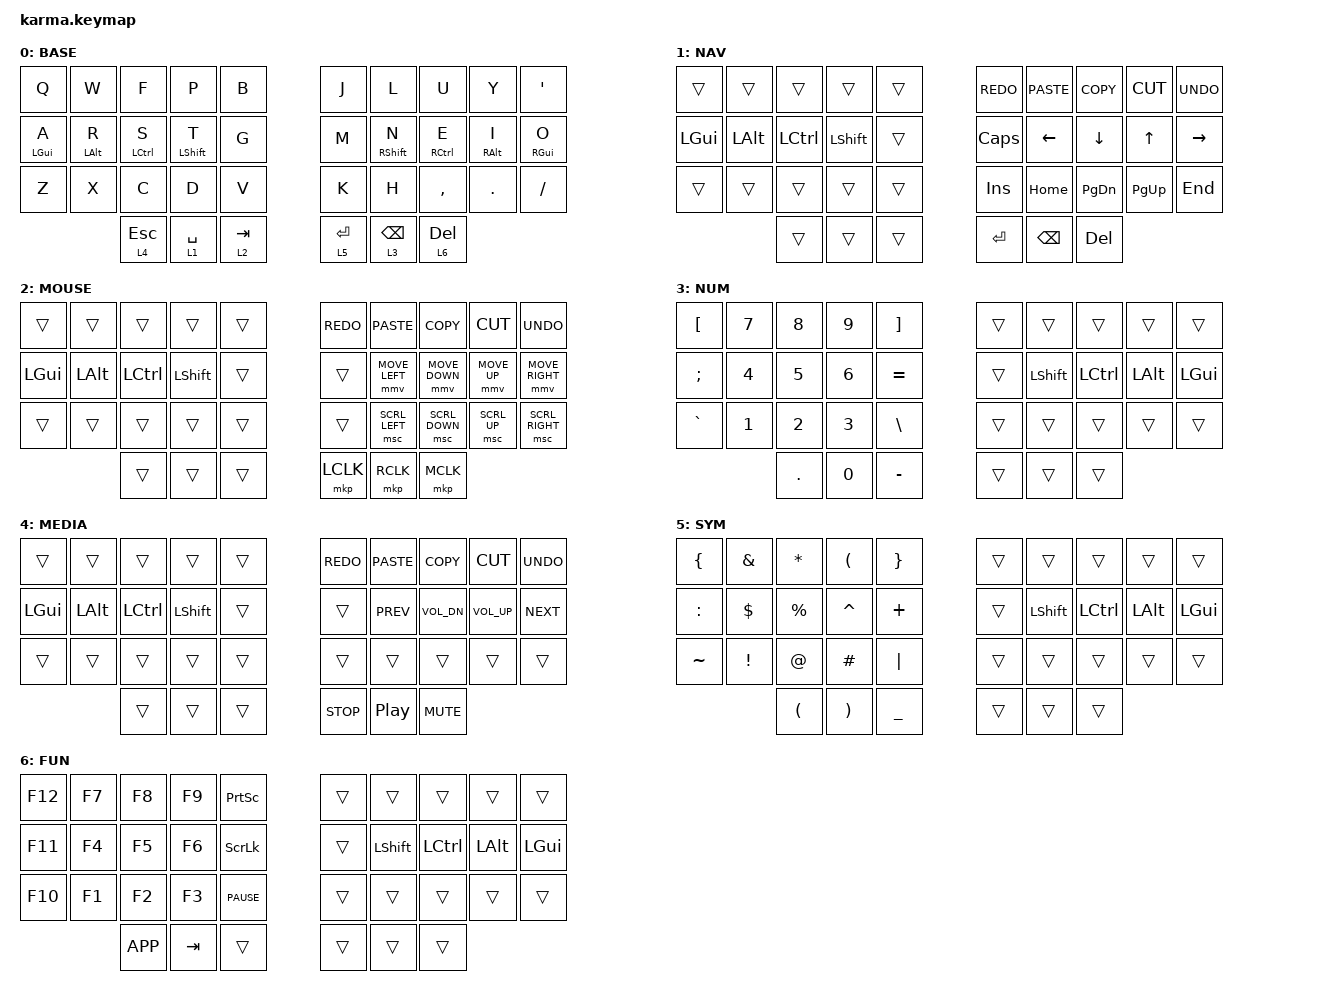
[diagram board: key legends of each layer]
#include <behaviors.dtsi>
#include <dt-bindings/zmk/keys.h>
#include <dt-bindings/zmk/bt.h>
#include <dt-bindings/zmk/outputs.h>
#include <dt-bindings/zmk/ext_power.h>
#include <dt-bindings/zmk/pointing.h>

/ {
  behaviors {
    u_mt: u_mt {
      compatible = "zmk,behavior-hold-tap";
      #binding-cells = <2>;
      tapping-term-ms = <200>;
      flavor = "tap-preferred";
      bindings = <&kp>, <&kp>;
    };

    u_lt: u_lt {
      compatible = "zmk,behavior-hold-tap";
      #binding-cells = <2>;
      tapping-term-ms = <200>;
      flavor = "tap-preferred";
      bindings = <&mo>, <&kp>;
    };
  };

  keymap {
    compatible = "zmk,keymap";

    miryoku_base_layer {
      label = "BASE";
      // ┏━━━━━━━━━━━┳━━━━━━━━━━━┳━━━━━━━━━━━┳━━━━━━━━━━━┳━━━━━━━━━━━┓   ┏━━━━━━━━━━━┳━━━━━━━━━━━┳━━━━━━━━━━━┳━━━━━━━━━━━┳━━━━━━━━━━━┓
      // ┃     Q     ┃     W     ┃     F     ┃     P     ┃     B     ┃   ┃     J     ┃     L     ┃     U     ┃     Y     ┃     '     ┃
      // ┣━━━━━━━━━━━╋━━━━━━━━━━━╋━━━━━━━━━━━╋━━━━━━━━━━━╋━━━━━━━━━━━┫   ┣━━━━━━━━━━━╋━━━━━━━━━━━╋━━━━━━━━━━━╋━━━━━━━━━━━╋━━━━━━━━━━━┫
      // ┃   LGUI A  ┃   LALT R  ┃   LCTL S  ┃   LSHF T  ┃     G     ┃   ┃     M     ┃   RSHF N  ┃   RCTL E  ┃   RALT I  ┃   RGUI O  ┃
      // ┣━━━━━━━━━━━╋━━━━━━━━━━━╋━━━━━━━━━━━╋━━━━━━━━━━━╋━━━━━━━━━━━┫   ┣━━━━━━━━━━━╋━━━━━━━━━━━╋━━━━━━━━━━━╋━━━━━━━━━━━╋━━━━━━━━━━━┫
      // ┃     Z     ┃     X     ┃     C     ┃     D     ┃     V     ┃   ┃     K     ┃     H     ┃     ,     ┃     .     ┃     /     ┃
      // ┗━━━━━━━━━━━┻━━━━━━━━━━━╋━━━━━━━━━━━╋━━━━━━━━━━━╋━━━━━━━━━━━┫   ┣━━━━━━━━━━━╋━━━━━━━━━━━╋━━━━━━━━━━━╋━━━━━━━━━━━┻━━━━━━━━━━━┛
      //                         ┃   MEDIA   ┃    NAV    ┃   MOUSE   ┃   ┃    SYM    ┃    NUM    ┃    FUN    ┃
      //                         ┃    ESC    ┃    SPC    ┃    TAB    ┃   ┃    ENT    ┃    BSP    ┃    DEL    ┃
      //                         ┗━━━━━━━━━━━┻━━━━━━━━━━━┻━━━━━━━━━━━┛   ┗━━━━━━━━━━━┻━━━━━━━━━━━┻━━━━━━━━━━━┛
      bindings = <
        &kp Q           &kp W           &kp F           &kp P           &kp B           &kp J           &kp L           &kp U           &kp Y           &kp SQT
        &u_mt LGUI A    &u_mt LALT R    &u_mt LCTRL S   &u_mt LSHFT T   &kp G           &kp M           &u_mt RSHFT N   &u_mt RCTRL E   &u_mt RALT I    &u_mt RGUI O
        &kp Z           &kp X           &kp C           &kp D           &kp V           &kp K           &kp H           &kp COMMA       &kp DOT         &kp SLASH
                                        &lt 4 ESC       &lt 1 SPACE     &lt 2 TAB       &lt 5 RET       &lt 3 BSPC      &lt 6 DEL
      >;
    };

    miryoku_nav_layer {
      label = "NAV";
      // ┏━━━━━━━━━━━┳━━━━━━━━━━━┳━━━━━━━━━━━┳━━━━━━━━━━━┳━━━━━━━━━━━┓   ┏━━━━━━━━━━━┳━━━━━━━━━━━┳━━━━━━━━━━━┳━━━━━━━━━━━┳━━━━━━━━━━━┓
      // ┃           ┃           ┃           ┃           ┃           ┃   ┃   Redo    ┃   Paste   ┃   Copy    ┃    Cut    ┃   Undo    ┃
      // ┣━━━━━━━━━━━╋━━━━━━━━━━━╋━━━━━━━━━━━╋━━━━━━━━━━━╋━━━━━━━━━━━┫   ┣━━━━━━━━━━━╋━━━━━━━━━━━╋━━━━━━━━━━━╋━━━━━━━━━━━╋━━━━━━━━━━━┫
      // ┃           ┃           ┃           ┃           ┃           ┃   ┃  CapsLock ┃  Left ←   ┃  Down ↓   ┃   Up ↑    ┃  Right →  ┃
      // ┣━━━━━━━━━━━╋━━━━━━━━━━━╋━━━━━━━━━━━╋━━━━━━━━━━━╋━━━━━━━━━━━┫   ┣━━━━━━━━━━━╋━━━━━━━━━━━╋━━━━━━━━━━━╋━━━━━━━━━━━╋━━━━━━━━━━━┫
      // ┃           ┃           ┃           ┃           ┃           ┃   ┃    Ins    ┃   Home    ┃   PgDn    ┃   PgUp    ┃    End    ┃
      // ┗━━━━━━━━━━━┻━━━━━━━━━━━╋━━━━━━━━━━━╋━━━━━━━━━━━╋━━━━━━━━━━━┫   ┣━━━━━━━━━━━╋━━━━━━━━━━━╋━━━━━━━━━━━╋━━━━━━━━━━━┻━━━━━━━━━━━┛
      //                         ┃           ┃           ┃           ┃   ┃    ENT    ┃    BSP    ┃    DEL    ┃
      //                         ┗━━━━━━━━━━━┻━━━━━━━━━━━┻━━━━━━━━━━━┛   ┗━━━━━━━━━━━┻━━━━━━━━━━━┻━━━━━━━━━━━┛
      bindings = <
        &trans          &trans          &trans          &trans          &trans          &kp K_REDO      &kp K_PASTE     &kp K_COPY      &kp K_CUT       &kp K_UNDO
        &kp LGUI        &kp LALT        &kp LCTRL       &kp LSHFT       &trans          &kp CAPS        &kp LEFT        &kp DOWN        &kp UP          &kp RIGHT
        &trans          &trans          &trans          &trans          &trans          &kp INS         &kp HOME        &kp PG_DN       &kp PG_UP       &kp END
                                        &trans          &trans          &trans          &kp RET         &kp BSPC        &kp DEL
      >;
    };

    miryoku_mouse_layer {
      label = "MOUSE";
      // ┏━━━━━━━━━━━┳━━━━━━━━━━━┳━━━━━━━━━━━┳━━━━━━━━━━━┳━━━━━━━━━━━┓   ┏━━━━━━━━━━━┳━━━━━━━━━━━┳━━━━━━━━━━━┳━━━━━━━━━━━┳━━━━━━━━━━━┓
      // ┃           ┃           ┃           ┃           ┃           ┃   ┃   Redo    ┃   Paste   ┃   Copy    ┃    Cut    ┃   Undo    ┃
      // ┣━━━━━━━━━━━╋━━━━━━━━━━━╋━━━━━━━━━━━╋━━━━━━━━━━━╋━━━━━━━━━━━┫   ┣━━━━━━━━━━━╋━━━━━━━━━━━╋━━━━━━━━━━━╋━━━━━━━━━━━╋━━━━━━━━━━━┫
      // ┃   LGUI    ┃   LALT    ┃   LCTRL   ┃   LSHFT   ┃           ┃   ┃           ┃  Move ←   ┃  Move ↓   ┃  Move ↑   ┃  Move →   ┃
      // ┣━━━━━━━━━━━╋━━━━━━━━━━━╋━━━━━━━━━━━╋━━━━━━━━━━━╋━━━━━━━━━━━┫   ┣━━━━━━━━━━━╋━━━━━━━━━━━╋━━━━━━━━━━━╋━━━━━━━━━━━╋━━━━━━━━━━━┃
      // ┃           ┃           ┃           ┃           ┃           ┃   ┃           ┃  Scroll ← ┃  Scroll ↓ ┃  Scroll ↑ ┃  Scroll → ┃
      // ┗━━━━━━━━━━━┻━━━━━━━━━━━╋━━━━━━━━━━━╋━━━━━━━━━━━╋━━━━━━━━━━━┫   ┣━━━━━━━━━━━╋━━━━━━━━━━━╋━━━━━━━━━━━╋━━━━━━━━━━━┻━━━━━━━━━━━┛
      //                         ┃           ┃           ┃           ┃   ┃   LCLK    ┃   RCLK    ┃   MCLK    ┃
      //                         ┗━━━━━━━━━━━┻━━━━━━━━━━━┻━━━━━━━━━━━┛   ┗━━━━━━━━━━━┻━━━━━━━━━━━┻━━━━━━━━━━━┛
      bindings = <
        &trans          &trans          &trans          &trans          &trans          &kp K_REDO      &kp K_PASTE     &kp K_COPY      &kp K_CUT       &kp K_UNDO
        &kp LGUI        &kp LALT        &kp LCTRL       &kp LSHFT       &trans          &trans          &mmv MOVE_LEFT  &mmv MOVE_DOWN  &mmv MOVE_UP    &mmv MOVE_RIGHT
        &trans          &trans          &trans          &trans          &trans          &trans          &msc SCRL_LEFT  &msc SCRL_DOWN  &msc SCRL_UP    &msc SCRL_RIGHT
                                        &trans          &trans          &trans          &mkp LCLK       &mkp RCLK       &mkp MCLK
      >;
    };

    miryoku_num_layer {
      label = "NUM";
      // ┏━━━━━━━━━━━┳━━━━━━━━━━━┳━━━━━━━━━━━┳━━━━━━━━━━━┳━━━━━━━━━━━┓   ┏━━━━━━━━━━━┳━━━━━━━━━━━┳━━━━━━━━━━━┳━━━━━━━━━━━┳━━━━━━━━━━━┓
      // ┃     [     ┃     7     ┃     8     ┃     9     ┃     ]     ┃   ┃           ┃           ┃           ┃           ┃           ┃
      // ┣━━━━━━━━━━━╋━━━━━━━━━━━╋━━━━━━━━━━━╋━━━━━━━━━━━╋━━━━━━━━━━━┫   ┣━━━━━━━━━━━╋━━━━━━━━━━━╋━━━━━━━━━━━╋━━━━━━━━━━━╋━━━━━━━━━━━┫
      // ┃     ;     ┃     4     ┃     5     ┃     6     ┃     =     ┃   ┃           ┃   LSHFT   ┃   LCTRL   ┃    LALT   ┃    LGUI   ┃
      // ┣━━━━━━━━━━━╋━━━━━━━━━━━╋━━━━━━━━━━━╋━━━━━━━━━━━╋━━━━━━━━━━━┫   ┣━━━━━━━━━━━╋━━━━━━━━━━━╋━━━━━━━━━━━╋━━━━━━━━━━━╋━━━━━━━━━━━┃
      // ┃     `     ┃     1     ┃     2     ┃     3     ┃     \     ┃   ┃           ┃           ┃           ┃           ┃           ┃
      // ┗━━━━━━━━━━━┻━━━━━━━━━━━╋━━━━━━━━━━━╋━━━━━━━━━━━╋━━━━━━━━━━━┫   ┣━━━━━━━━━━━╋━━━━━━━━━━━╋━━━━━━━━━━━╋━━━━━━━━━━━┻━━━━━━━━━━━┛
      //                         ┃     .     ┃     0     ┃     -     ┃   ┃           ┃           ┃           ┃
      //                         ┗━━━━━━━━━━━┻━━━━━━━━━━━┻━━━━━━━━━━━┛   ┗━━━━━━━━━━━┻━━━━━━━━━━━┻━━━━━━━━━━━┛
      bindings = <
        &kp LBKT        &kp N7          &kp N8          &kp N9          &kp RBKT        &trans          &trans          &trans          &trans          &trans
        &kp SEMI        &kp N4          &kp N5          &kp N6          &kp EQUAL       &trans          &kp LSHFT       &kp LCTRL       &kp LALT        &kp LGUI
        &kp GRAVE       &kp N1          &kp N2          &kp N3          &kp BSLH        &trans          &trans          &trans          &trans          &trans
                                        &kp DOT         &kp N0          &kp MINUS       &trans          &trans          &trans
      >;
    };

    miryoku_media_layer {
      label = "MEDIA";
      bindings = <
        &trans          &trans          &trans          &trans          &trans          &kp K_REDO      &kp K_PASTE     &kp K_COPY      &kp K_CUT       &kp K_UNDO
        &kp LGUI        &kp LALT        &kp LCTRL       &kp LSHFT       &trans          &trans          &kp C_PREV      &kp C_VOL_DN    &kp C_VOL_UP    &kp C_NEXT
        &trans          &trans          &trans          &trans          &trans          &trans          &trans          &trans          &trans          &trans
                                        &trans          &trans          &trans          &kp C_STOP      &kp C_PP        &kp C_MUTE
      >;
    };

    miryoku_sym_layer {
      label = "SYM";
      // ┏━━━━━━━━━━━┳━━━━━━━━━━━┳━━━━━━━━━━━┳━━━━━━━━━━━┳━━━━━━━━━━━┓   ┏━━━━━━━━━━━┳━━━━━━━━━━━┳━━━━━━━━━━━┳━━━━━━━━━━━┳━━━━━━━━━━━┓
      // ┃     {     ┃     &     ┃     *     ┃     (     ┃     }     ┃   ┃           ┃           ┃           ┃           ┃           ┃
      // ┣━━━━━━━━━━━╋━━━━━━━━━━━╋━━━━━━━━━━━╋━━━━━━━━━━━╋━━━━━━━━━━━┫   ┣━━━━━━━━━━━╋━━━━━━━━━━━╋━━━━━━━━━━━╋━━━━━━━━━━━╋━━━━━━━━━━━┫
      // ┃     :     ┃     $     ┃     %     ┃     ^     ┃     +     ┃   ┃           ┃           ┃           ┃           ┃           ┃
      // ┣━━━━━━━━━━━╋━━━━━━━━━━━╋━━━━━━━━━━━╋━━━━━━━━━━━╋━━━━━━━━━━━┫   ┣━━━━━━━━━━━╋━━━━━━━━━━━╋━━━━━━━━━━━╋━━━━━━━━━━━╋━━━━━━━━━━━┃
      // ┃     ~     ┃     !     ┃     @     ┃     #     ┃     |     ┃   ┃           ┃           ┃           ┃           ┃           ┃
      // ┗━━━━━━━━━━━┻━━━━━━━━━━━╋━━━━━━━━━━━╋━━━━━━━━━━━╋━━━━━━━━━━━┫   ┣━━━━━━━━━━━╋━━━━━━━━━━━╋━━━━━━━━━━━╋━━━━━━━━━━━┻━━━━━━━━━━━┛
      //                         ┃     (     ┃     )     ┃     _     ┃   ┃           ┃           ┃           ┃
      //                         ┗━━━━━━━━━━━┻━━━━━━━━━━━┻━━━━━━━━━━━┛   ┗━━━━━━━━━━━┻━━━━━━━━━━━┻━━━━━━━━━━━┛
      bindings = <
        &kp LBRC        &kp AMPS        &kp STAR        &kp LPAR        &kp RBRC        &trans          &trans          &trans          &trans          &trans
        &kp COLON       &kp DLLR        &kp PRCNT       &kp CARET       &kp PLUS        &trans          &kp LSHFT       &kp LCTRL       &kp LALT        &kp LGUI
        &kp TILDE       &kp EXCL        &kp AT          &kp HASH        &kp PIPE        &trans          &trans          &trans          &trans          &trans
                                        &kp LPAR        &kp RPAR        &kp UNDER       &trans          &trans          &trans
      >;
    };

    miryoku_fun_layer {
      label = "FUN";
      // ┏━━━━━━━━━━━┳━━━━━━━━━━━┳━━━━━━━━━━━┳━━━━━━━━━━━┳━━━━━━━━━━━┓   ┏━━━━━━━━━━━┳━━━━━━━━━━━┳━━━━━━━━━━━┳━━━━━━━━━━━┳━━━━━━━━━━━┓
      // ┃    F12    ┃    F7     ┃    F8     ┃    F9     ┃   PrtSc   ┃   ┃           ┃           ┃           ┃           ┃           ┃
      // ┣━━━━━━━━━━━╋━━━━━━━━━━━╋━━━━━━━━━━━╋━━━━━━━━━━━╋━━━━━━━━━━━┫   ┣━━━━━━━━━━━╋━━━━━━━━━━━╋━━━━━━━━━━━╋━━━━━━━━━━━╋━━━━━━━━━━━┫
      // ┃    F11    ┃    F4     ┃    F5     ┃    F6     ┃  ScrLock  ┃   ┃           ┃           ┃           ┃           ┃           ┃
      // ┣━━━━━━━━━━━╋━━━━━━━━━━━╋━━━━━━━━━━━╋━━━━━━━━━━━╋━━━━━━━━━━━┫   ┣━━━━━━━━━━━╋━━━━━━━━━━━╋━━━━━━━━━━━╋━━━━━━━━━━━╋━━━━━━━━━━━┃
      // ┃    F10    ┃    F1     ┃    F2     ┃    F3     ┃   Pause   ┃   ┃           ┃           ┃           ┃           ┃           ┃
      // ┗━━━━━━━━━━━┻━━━━━━━━━━━╋━━━━━━━━━━━╋━━━━━━━━━━━╋━━━━━━━━━━━┫   ┣━━━━━━━━━━━╋━━━━━━━━━━━╋━━━━━━━━━━━╋━━━━━━━━━━━┻━━━━━━━━━━━┛
      //                         ┃    Menu   ┃    Tab    ┃           ┃   ┃           ┃           ┃           ┃
      //                         ┗━━━━━━━━━━━┻━━━━━━━━━━━┻━━━━━━━━━━━┛   ┗━━━━━━━━━━━┻━━━━━━━━━━━┻━━━━━━━━━━━┛
      bindings = <
        &kp F12         &kp F7          &kp F8          &kp F9          &kp PSCRN       &trans          &trans          &trans          &trans          &trans
        &kp F11         &kp F4          &kp F5          &kp F6          &kp SLCK        &trans          &kp LSHFT       &kp LCTRL       &kp LALT        &kp LGUI
        &kp F10         &kp F1          &kp F2          &kp F3          &kp PAUSE       &trans          &trans          &trans          &trans          &trans
                                        &kp K_APP       &kp TAB         &trans          &trans          &trans          &trans
      >;
    };
  };
};
